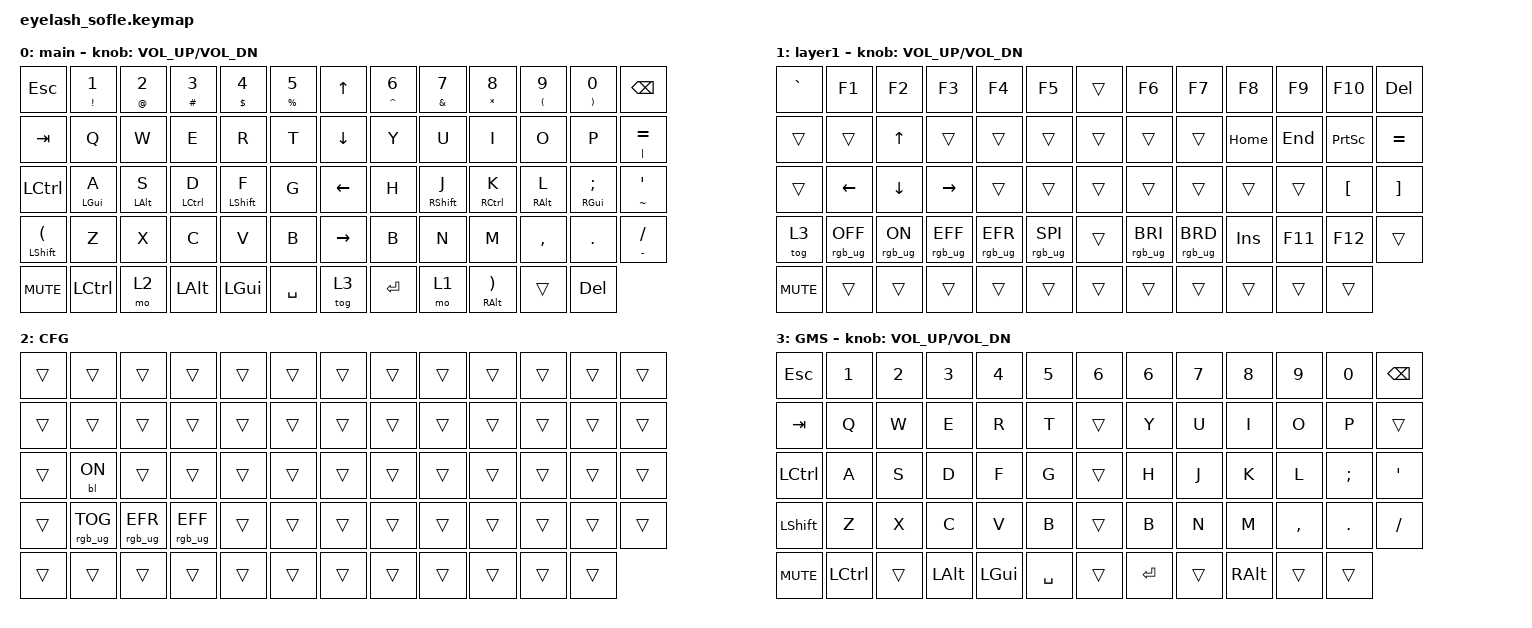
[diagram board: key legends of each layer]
#define ZMK_POINTING_DEFAULT_MOVE_VAL 1200  // 600
#define ZMK_POINTING_DEFAULT_SCRL_VAL 35    // 10

#include <input/processors.dtsi>
#include <zephyr/dt-bindings/input/input-event-codes.h>
#include <behaviors.dtsi>
#include <dt-bindings/zmk/backlight.h>
#include <dt-bindings/zmk/keys.h>
#include <dt-bindings/zmk/pointing.h>
#include <dt-bindings/zmk/rgb.h>

/ {
    zip_scroll_scaler: zip_scroll_scaler {
        compatible = "zmk,input-processor-scaler";
        #input-processor-cells = <2>;
        type = <INPUT_EV_REL>;
        codes = <INPUT_REL_WHEEL INPUT_REL_HWHEEL>;
        track-remainders;
    };
};

&mmv_input_listener { input-processors = <&zip_xy_scaler 2 1>; };

&msc_input_listener { input-processors = <&zip_scroll_scaler 2 1>; };

&msc {
    acceleration-exponent = <0>;      // 0
    time-to-max-speed-ms = <0>;       // 300
    delay-ms = <0>;                   // 0
};

&mmv {
    time-to-max-speed-ms = <400>;
    acceleration-exponent = <1>;
};

&soft_off { hold-time-ms = <2000>; };

/ {
    scroll_encoder: scroll_encoder {
        compatible = "zmk,behavior-sensor-rotate";
        #sensor-binding-cells = <0>;
        bindings = <&msc SCRL_DOWN>, <&msc SCRL_UP>;

        tap-ms = <100>;
    };

    td: td {
        compatible = "zmk,behavior-hold-tap";
        label = "TD";
        bindings = <&kp>, <&kp>;

        #binding-cells = <2>;
        tapping-term-ms = <210>;
        flavor = "tap-preferred";
    };

    tdshift: tdshift {
        compatible = "zmk,behavior-hold-tap";
        label = "TDSHIFT";
        bindings = <&kp>, <&kp>;

        #binding-cells = <2>;
        tapping-term-ms = <100>;
    };

    macros {
        shift_MB3: shift_MB3 {
            compatible = "zmk,behavior-macro";
            #binding-cells = <0>;
            bindings =
                <&macro_press>,
                <&kp LEFT_SHIFT>,
                <&macro_press>,
                <&mkp MB3>,
                <&macro_pause_for_release>,
                <&macro_release>,
                <&mkp MB3 &kp LEFT_SHIFT>;

            label = "SHIFT_MB3";
        };
    };

    behaviors {
    };

    combos {
        compatible = "zmk,combos";

        softoff {
            bindings = <&soft_off>;
            key-positions = <14 28 40>;
        };

        togglegames {
            bindings = <&tog 3>;
            key-positions = <14 24>;
            layers = <3 1>;
        };
    };

    keymap {
        compatible = "zmk,keymap";

        MAIN {
            bindings = <
&kp ESC                           &td EXCLAMATION NUMBER_1  &td AT_SIGN NUMBER_2  &td HASH NUMBER_3   &td DOLLAR NUMBER_4  &td PERCENT N5    &kp UP_ARROW     &td CARET NUMBER_6  &td AMPERSAND N7   &td ASTRK N8                          &td LEFT_PARENTHESIS N9  &td RIGHT_PARENTHESIS N0  &kp BACKSPACE
&kp TAB                           &kp Q                     &kp W                 &kp E               &kp R                &kp T             &kp DOWN_ARROW   &kp Y               &kp U              &kp I                                 &kp O                    &kp P                     &td PIPE EQUAL
&kp LCTRL                         &td LEFT_GUI A            &td LEFT_ALT S        &td LEFT_CONTROL D  &td LEFT_SHIFT F     &kp G             &kp LEFT_ARROW   &kp H               &td RIGHT_SHIFT J  &td RIGHT_CONTROL K                   &td RIGHT_ALT L          &td RIGHT_GUI SEMI        &td TILDE APOS
&tdshift LSHIFT LEFT_PARENTHESIS  &kp Z                     &kp X                 &kp C               &kp V                &kp B             &kp RIGHT_ARROW  &kp B               &kp N              &kp M                                 &kp COMMA                &kp DOT                   &td MINUS SLASH
&kp C_MUTE                        &kp LCTRL                 &mo 2                 &kp LEFT_ALT        &kp LEFT_GUI         &kp SPACE         &tog 3           &kp ENTER           &mo 1              &tdshift RIGHT_ALT RIGHT_PARENTHESIS  &trans                   &kp DELETE
            >;

            sensor-bindings = <&inc_dec_kp C_VOLUME_UP C_VOL_DN>;
            display-name = "main";
        };

        NAV {
            bindings = <
&kp GRAVE   &kp F1           &kp F2          &kp F3           &kp F4           &kp F5             &trans  &kp F6           &kp F7           &kp F8      &kp F9   &kp F10           &kp DEL
&trans      &trans           &kp UP_ARROW    &trans           &trans           &trans             &trans  &trans           &trans           &kp HOME    &kp END  &kp PRINTSCREEN   &kp EQUAL
&trans      &kp LEFT         &kp DOWN        &kp RIGHT        &trans           &trans             &trans  &trans           &trans           &trans      &trans   &kp LEFT_BRACKET  &kp RIGHT_BRACKET
&tog 3      &rgb_ug RGB_OFF  &rgb_ug RGB_ON  &rgb_ug RGB_EFF  &rgb_ug RGB_EFR  &rgb_ug RGB_SPI    &trans  &rgb_ug RGB_BRI  &rgb_ug RGB_BRD  &kp INSERT  &kp F11  &kp F12           &trans
&kp C_MUTE  &trans           &trans          &trans           &trans           &trans             &trans  &trans           &trans           &trans      &trans   &trans
            >;

            display-name = "layer1";
            sensor-bindings = <&inc_dec_kp C_VOLUME_UP C_VOL_DN>;
        };

        CFG {
            bindings = <
&trans  &trans           &trans           &trans           &trans  &trans    &trans  &trans  &trans  &trans  &trans  &trans  &trans
&trans  &trans           &trans           &trans           &trans  &trans    &trans  &trans  &trans  &trans  &trans  &trans  &trans
&trans  &bl BL_ON        &trans           &trans           &trans  &trans    &trans  &trans  &trans  &trans  &trans  &trans  &trans
&trans  &rgb_ug RGB_TOG  &rgb_ug RGB_EFR  &rgb_ug RGB_EFF  &trans  &trans    &trans  &trans  &trans  &trans  &trans  &trans  &trans
&trans  &trans           &trans           &trans           &trans  &trans    &trans  &trans  &trans  &trans  &trans  &trans
            >;
        };

        GMS {
            bindings = <
&kp ESC     &kp N1     &kp N2  &kp N3    &kp N4    &kp N5       &kp N6  &kp N6     &kp N7  &kp N8         &kp N9     &kp N0    &kp BSPC
&kp TAB     &kp Q      &kp W   &kp E     &kp R     &kp T        &trans  &kp Y      &kp U   &kp I          &kp O      &kp P     &trans
&kp LCTRL   &kp A      &kp S   &kp D     &kp F     &kp G        &trans  &kp H      &kp J   &kp K          &kp L      &kp SEMI  &kp APOS
&kp LSHFT   &kp Z      &kp X   &kp C     &kp V     &kp B        &trans  &kp B      &kp N   &kp M          &kp COMMA  &kp DOT   &kp FSLH
&kp C_MUTE  &kp LCTRL  &trans  &kp LALT  &kp LGUI  &kp SPACE    &trans  &kp ENTER  &trans  &kp RIGHT_ALT  &trans     &trans
            >;

            sensor-bindings = <&inc_dec_kp C_VOLUME_UP C_VOL_DN>;
        };
    };
};
